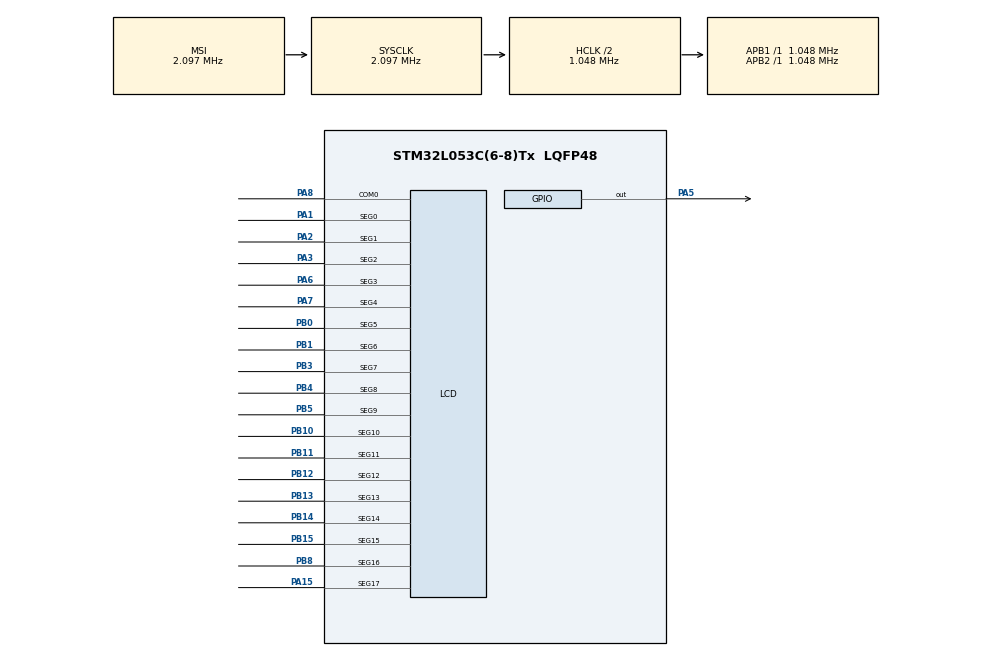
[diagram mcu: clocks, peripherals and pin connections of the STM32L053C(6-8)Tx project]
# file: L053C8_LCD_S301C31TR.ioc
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LCD.Contrast=LCD_CONTRASTLEVEL_5
LCD.Divider=LCD_DIVIDER_25
LCD.Prescaler=LCD_PRESCALER_16
Mcu.Family=STM32L0
Mcu.Name=STM32L053C(6-8)Tx
Mcu.Package=LQFP48
PA1.Mode=SEG0
PA1.Signal=LCD_SEG0
PA13.Mode=Serial_Wire
PA13.Signal=SYS_SWDIO
PA14.Mode=Serial_Wire
PA14.Signal=SYS_SWCLK
PA15.Mode=SEG17
PA15.Signal=LCD_SEG17
PA2.Mode=SEG1
PA2.Signal=LCD_SEG1
PA3.Mode=SEG2
PA3.Signal=LCD_SEG2
PA5.Signal=GPIO_Output
PA6.Mode=SEG3
PA6.Signal=LCD_SEG3
PA7.Mode=SEG4
PA7.Signal=LCD_SEG4
PA8.Mode=Static
PA8.Signal=LCD_COM0
PB0.Mode=SEG5
PB0.Signal=LCD_SEG5
PB1.Mode=SEG6
PB1.Signal=LCD_SEG6
PB10.Mode=SEG10
PB10.Signal=LCD_SEG10
PB11.Mode=SEG11
PB11.Signal=LCD_SEG11
PB12.Mode=SEG12
PB12.Signal=LCD_SEG12
PB13.Mode=SEG13
PB13.Signal=LCD_SEG13
PB14.Mode=SEG14
PB14.Signal=LCD_SEG14
PB15.Mode=SEG15
PB15.Signal=LCD_SEG15
PB3.Mode=SEG7
PB3.Signal=LCD_SEG7
PB4.Mode=SEG8
PB4.Signal=LCD_SEG8
PB5.Mode=SEG9
PB5.Signal=LCD_SEG9
PB8.Mode=SEG16
PB8.Signal=LCD_SEG16
ProjectManager.HeapSize=0x200
ProjectManager.StackSize=0x400
ProjectManager.TargetToolchain=SW4STM32
RCC.AHBCLKDivider=RCC_SYSCLK_DIV2
RCC.AHBFreq_Value=1048500
RCC.APB1Freq_Value=1048500
RCC.APB1TimFreq_Value=1048500
RCC.APB2Freq_Value=1048500
RCC.APB2TimFreq_Value=1048500
RCC.HCLKFreq_Value=1048500
RCC.HSE_VALUE=8000000
RCC.HSI16_VALUE=16000000
RCC.HSI48_VALUE=48000000
RCC.HSI_VALUE=16000000
RCC.LSE_VALUE=32768
RCC.MSI_VALUE=2097000
RCC.SYSCLKFreq_VALUE=2097000
RCC.VCOOutputFreq_Value=48000000
board=L053C8_LCD_S301C31TR

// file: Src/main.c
/**
  ******************************************************************************
  * File Name          : main.c
  * Description        : Main program body
  ******************************************************************************
  *
  * COPYRIGHT(c) 2016 STMicroelectronics
  *
  * Redistribution and use in source and binary forms, with or without modification,
  * are permitted provided that the following conditions are met:
  *   1. Redistributions of source code must retain the above copyright notice,
  *      this list of conditions and the following disclaimer.
  *   2. Redistributions in binary form must reproduce the above copyright notice,
  *      this list of conditions and the following disclaimer in the documentation
  *      and/or other materials provided with the distribution.
  *   3. Neither the name of STMicroelectronics nor the names of its contributors
  *      may be used to endorse or promote products derived from this software
  *      without specific prior written permission.
  *
  * THIS SOFTWARE IS PROVIDED BY THE COPYRIGHT HOLDERS AND CONTRIBUTORS "AS IS"
  * AND ANY EXPRESS OR IMPLIED WARRANTIES, INCLUDING, BUT NOT LIMITED TO, THE
  * IMPLIED WARRANTIES OF MERCHANTABILITY AND FITNESS FOR A PARTICULAR PURPOSE ARE
  * DISCLAIMED. IN NO EVENT SHALL THE COPYRIGHT HOLDER OR CONTRIBUTORS BE LIABLE
  * FOR ANY DIRECT, INDIRECT, INCIDENTAL, SPECIAL, EXEMPLARY, OR CONSEQUENTIAL
  * DAMAGES (INCLUDING, BUT NOT LIMITED TO, PROCUREMENT OF SUBSTITUTE GOODS OR
  * SERVICES; LOSS OF USE, DATA, OR PROFITS; OR BUSINESS INTERRUPTION) HOWEVER
  * CAUSED AND ON ANY THEORY OF LIABILITY, WHETHER IN CONTRACT, STRICT LIABILITY,
  * OR TORT (INCLUDING NEGLIGENCE OR OTHERWISE) ARISING IN ANY WAY OUT OF THE USE
  * OF THIS SOFTWARE, EVEN IF ADVISED OF THE POSSIBILITY OF SUCH DAMAGE.
  *
  ******************************************************************************
  */
#include "main.h"
#include "stm32l0xx_hal.h"
#include "lcd.h"
#include "gpio.h"

/* USER CODE BEGIN PV */
/* Private variables ---------------------------------------------------------*/

/* USER CODE END PV */

void SystemClock_Config(void);
void Error_Handler(void);

/* USER CODE BEGIN PFP */
/* Private function prototypes -----------------------------------------------*/

/* USER CODE END PFP */

int main(void)
{

  /* MCU Configuration----------------------------------------------------------*/

  /* Reset of all peripherals, Initializes the Flash interface and the Systick. */
  HAL_Init();

  /* Configure the system clock */
  SystemClock_Config();

  /* Initialize all configured peripherals */
  MX_GPIO_Init();
  MX_LCD_Init();

  /* USER CODE BEGIN 2 */
  //HAL_Delay(1);
  //LCD->RAM[LCD_RAM_REGISTER0] = 0x00000003;
  //HAL_LCD_UpdateDisplayRequest(&hlcd);

  //uint32_t data = 0x000000FF;
  //uint32_t data = 0xFFFFFFFF;
  //uint32_t data = 0b00000000000000000000000001110111;
 // uint32_t data = 0b00000000000000000000000000010100;
  //HAL_LCD_Write(&hlcd, LCD_RAM_REGISTER0, LCD_RAM_SEGMENT_DATA_Msk, data);
  //HAL_LCD_UpdateDisplayRequest(&hlcd);

  /*

             A
        ----------
        |         |
       F|         |B
        |         |
        -----G-----
        |         |
       E|         |C
        |         |  _
        ----------- |_|DP
             D

   */

  // Segment pin mappings
  const uint32_t seg_e1  = 0b00000000000000000000000000000001; /* LCD_SEG0 */
  const uint32_t seg_d1  = 0b00000000000000000000000000000010; /* LCD_SEG1 */
  const uint32_t seg_c1  = 0b00000000000000000000000000000100; /* LCD_SEG2 */
  const uint32_t seg_dp1 = 0b00000000000000000000000000001000; /* LCD_SEG3 */
  const uint32_t seg_b1  = 0b00000000000000000000000000010000; /* LCD_SEG4 */
  const uint32_t seg_a1  = 0b00000000000000000000000000100000; /* LCD_SEG5 */
  const uint32_t seg_f1  = 0b00000000000000000000000001000000; /* LCD_SEG6 */
  const uint32_t seg_g1  = 0b00000000000000000000000010000000; /* LCD_SEG7 */
//const uint32_t seg_g1  = 0b00000000000000000000000100000000; /* LCD_SEG8 */

  const uint32_t character_map[11] = {
      seg_a1 | seg_b1 | seg_c1 | seg_d1 | seg_e1 | seg_f1,          /* 0 */
      seg_b1 | seg_c1,                                              /* 1 */
      seg_a1 | seg_b1 | seg_g1 | seg_e1 | seg_d1,                   /* 2 */
      seg_a1 | seg_b1 | seg_g1 | seg_c1 | seg_d1,                   /* 3 */
      seg_f1 | seg_b1 | seg_g1 | seg_c1,                            /* 4 */
      seg_a1 | seg_f1 | seg_g1 | seg_c1 | seg_d1,                   /* 5 */
      seg_f1 | seg_e1 | seg_g1 | seg_c1 | seg_d1,                   /* 6 */
      seg_a1 | seg_b1 | seg_c1,                                     /* 7 */
      seg_a1 | seg_b1 | seg_c1 | seg_d1 | seg_e1 | seg_f1 | seg_g1, /* 8 */
      seg_a1 | seg_b1 | seg_c1 | seg_f1 | seg_g1,                   /* 9 */
      seg_dp1,                                                      /* . */
  };

  int count = 0;

  /* USER CODE END 2 */

  /* Infinite loop */
  while (1)
  {

  /* USER CODE BEGIN 3 */

      /* HAL_LCD_Write does not apply changes after the first one, why? */
      /* HAL_LCD_Write(&hlcd, LCD_RAM_REGISTER0, LCD_RAM_SEGMENT_DATA_Msk, character_map[0]); */
      LCD->RAM[LCD_RAM_REGISTER0] = character_map[count];
      HAL_LCD_UpdateDisplayRequest(&hlcd);
      HAL_Delay(1000);

      count++;
      if (count > 10) {
          count = 0;
      }

  }
  /* USER CODE END 3 */

}

/** System Clock Configuration
*/
void SystemClock_Config(void)
{

  RCC_OscInitTypeDef RCC_OscInitStruct;
  RCC_ClkInitTypeDef RCC_ClkInitStruct;
  RCC_PeriphCLKInitTypeDef PeriphClkInit;

    /**Configure the main internal regulator output voltage
    */
  __HAL_PWR_VOLTAGESCALING_CONFIG(PWR_REGULATOR_VOLTAGE_SCALE1);

    /**Initializes the CPU, AHB and APB busses clocks
    */
  RCC_OscInitStruct.OscillatorType = RCC_OSCILLATORTYPE_LSI|RCC_OSCILLATORTYPE_MSI;
  RCC_OscInitStruct.MSIState = RCC_MSI_ON;
  RCC_OscInitStruct.MSICalibrationValue = 0;
  RCC_OscInitStruct.MSIClockRange = RCC_MSIRANGE_5;
  RCC_OscInitStruct.PLL.PLLState = RCC_PLL_NONE;
  if (HAL_RCC_OscConfig(&RCC_OscInitStruct) != HAL_OK)
  {
    Error_Handler();
  }

    /**Initializes the CPU, AHB and APB busses clocks
    */
  RCC_ClkInitStruct.ClockType = RCC_CLOCKTYPE_HCLK|RCC_CLOCKTYPE_SYSCLK
                              |RCC_CLOCKTYPE_PCLK1|RCC_CLOCKTYPE_PCLK2;
  RCC_ClkInitStruct.SYSCLKSource = RCC_SYSCLKSOURCE_MSI;
  RCC_ClkInitStruct.AHBCLKDivider = RCC_SYSCLK_DIV2;
  RCC_ClkInitStruct.APB1CLKDivider = RCC_HCLK_DIV1;
  RCC_ClkInitStruct.APB2CLKDivider = RCC_HCLK_DIV1;

  if (HAL_RCC_ClockConfig(&RCC_ClkInitStruct, FLASH_LATENCY_0) != HAL_OK)
  {
    Error_Handler();
  }

  PeriphClkInit.PeriphClockSelection = RCC_PERIPHCLK_RTC;
  PeriphClkInit.RTCClockSelection = RCC_RTCCLKSOURCE_LSI;
  if (HAL_RCCEx_PeriphCLKConfig(&PeriphClkInit) != HAL_OK)
  {
    Error_Handler();
  }

    /**Configure the Systick interrupt time
    */
  HAL_SYSTICK_Config(HAL_RCC_GetHCLKFreq()/1000);

    /**Configure the Systick
    */
  HAL_SYSTICK_CLKSourceConfig(SYSTICK_CLKSOURCE_HCLK);

  /* SysTick_IRQn interrupt configuration */
  HAL_NVIC_SetPriority(SysTick_IRQn, 0, 0);
}

void Error_Handler(void)
{
  /* USER CODE BEGIN Error_Handler */

  /* User can add his own implementation to report the HAL error return state */

  while(1)
  {
      //HAL_GPIO_WritePin(GPIOA, GPIO_PIN_5, GPIO_PIN_SET);
      HAL_GPIO_TogglePin(GPIOA, GPIO_PIN_5);
      HAL_Delay(150);

  }
  /* USER CODE END Error_Handler */
}

/************************ (C) COPYRIGHT STMicroelectronics *****END OF FILE****/
